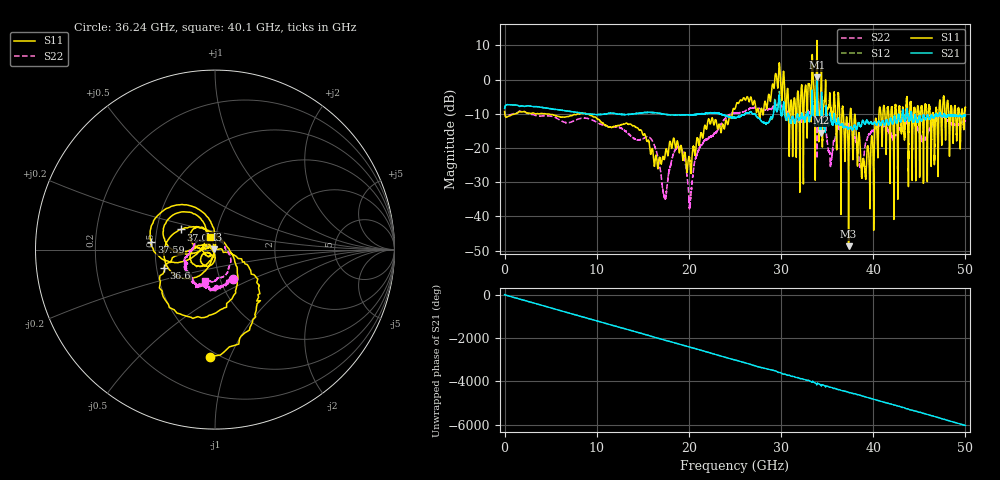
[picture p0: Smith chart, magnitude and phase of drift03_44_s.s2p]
!Created with skrf (http://scikit-rf.org).
# Hz S RI R 50.0
!freq ReS11 ImS11 ReS21 ImS21 ReS12 ImS12 ReS22 ImS22
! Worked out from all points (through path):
!   10001 points, 300 kHz to 50 GHz, reference 50 ohm
!   highest |S21| = 0.68 dB at 33.9 GHz (marker M1); lowest = -15.5 dB at 34.32 GHz (marker M2)
!   group delay of S21, straight-line fit = 335 ps
!   lowest |S11| = -48.7 dB at 37.33 GHz (marker M3), VSWR 1.01, Z = 49.7 + j0.205 ohm
!   |S11| at or under -10 dB: 4.471 GHz to 8.189 GHz (3.717 GHz wide, 58.7 % of centre); 9.013 GHz to 24.7 GHz (15.68 GHz wide, 93.1 % of centre); 37.62 GHz to 40.62 GHz (3.003 GHz wide, 7.68 % of centre) (the widest 3 of 60)
!   |S22| runs from -37.8 to -5.9 dB; largest |S21 - S12| = 0.11
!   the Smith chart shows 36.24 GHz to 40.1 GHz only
!   S11 on the Smith chart (normalised r, x): 36.24 GHz: 0.45, -0.85; 36.6 GHz: 0.55, -0.12; 37.04 GHz: 0.67, +0.16; 37.59 GHz: 0.47, +0.04; 40.1 GHz: 0.94, +0.13
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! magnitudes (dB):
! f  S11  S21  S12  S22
! 300 kHz  -9.3  -8.4  -8.4  -9.3
! 8.335 GHz  -9.9  -9.8  -9.8  -11.3
! 16.67 GHz  -25.5  -9.8  -9.8  -23.2
! 17.39 GHz  -22.7  -10.1  -10.1  -34.5
! 19.07 GHz  -19.9  -10.3  -10.3  -20.0
! 20.13 GHz  -24.7  -10.3  -10.3  -36.1
! 21.19 GHz  -17.7  -10.1  -10.1  -19.6
! 25 GHz  -8.6  -11.1  -11.1  -9.8
! 31.08 GHz  -6.1  -12.7  -12.7  -10.5
! 33.34 GHz  0.5  -7.4  -7.6  -9.4
! 33.9 GHz  11.5  0.7  0.3  -23.1
! 34.32 GHz  -2.9  -15.5  -14.9  -11.2
! 35.35 GHz  -6.6  -10.6  -10.1  -24.6
! 36.24 GHz  -4.4  -11.7  -11.7  -14.2
! 36.6 GHz  -10.4  -13.1  -13.1  -13.8
! 37.04 GHz  -13.1  -13.8  -14.1  -13.7
! 37.33 GHz  -48.7  -14.3  -14.5  -13.5
! 37.59 GHz  -8.9  -13.9  -13.9  -13.8
! 38.71 GHz  -27.0  -13.4  -13.3  -25.3
! 40.1 GHz  -22.5  -12.5  -12.6  -14.8
! 41.67 GHz  -9.5  -13.3  -13.2  -14.8
! 50 GHz  -8.1  -10.5  -10.5  -12.1
